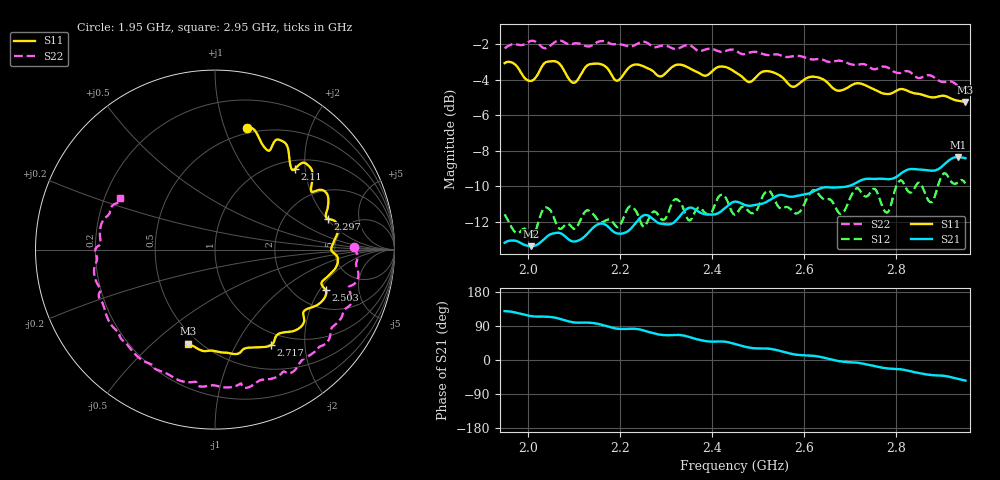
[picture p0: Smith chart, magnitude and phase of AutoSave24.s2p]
!Agilent N9923A: A.07.32
!Date: Wednesday, 01 June 2016 23:09:38
!Model: N9923A
!Serial: MY52412257
!GPS Latitude:
!GPS Longitude:
!GPS TimeStamp: 0001-01-01 00:00:00Z
!GPS Seconds Since Last Read: 0
!CHECKSUM:0575744058
!Correction: S11(ON U)S21(ON U)S12(ON U)S22(ON U)
!S2P File: Measurements:S11,S21,S12,S22:
# Hz S DB R 50
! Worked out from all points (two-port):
!   301 points, 1.95 GHz to 2.95 GHz, reference 50 ohm
!   highest |S21| = -8.35 dB at 2.933 GHz (marker M1); lowest = -13.4 dB at 2.007 GHz (marker M2)
!   |S21| within 3 dB of the highest: 2.342 GHz to 2.366 GHz (24.21 MHz wide, 1.03 % of centre); 2.423 GHz to end of sweep
!   lowest |S11| = -5.3 dB at 2.95 GHz (marker M3), VSWR 3.41, Z = 21.9 - j32.8 ohm
!   |S11| at or under -10 dB: nowhere
!   |S22| runs from -4.5 to -1.8 dB; largest |S21 - S12| = 0.21
!   S11 on the Smith chart (normalised r, x): 1.95 GHz: 0.44, +1.19; 2.11 GHz: 1.17, +1.77; 2.297 GHz: 3.45, +2.07; 2.503 GHz: 2.87, -2.28; 2.717 GHz: 0.81, -1.40; 2.95 GHz: 0.44, -0.66
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1.95e9  -3.06 75.4  -13.18 129.0  -11.58 118.6  -2.23 1.1
2.006667e9  -4.07 61.8  -13.37 116.0  -12.78 104.8  -1.82 -10.0
2.043333e9  -2.98 59.5  -12.81 114.0  -11.22 100.7  -2.18 -16.3
2.11e9  -3.95 45.2  -13.06 98.4  -12.16 86.8  -1.96 -29.5
2.12e9  -3.50 45.2  -12.91 98.5  -11.61 86.2  -2.04 -31.7
2.236667e9  -3.14 26.0  -11.99 81.9  -11.46 58.9  -2.00 -54.3
2.286667e9  -3.82 16.6  -12.09 67.0  -11.75 49.1  -2.10 -62.2
2.296667e9  -3.70 15.3  -12.13 65.6  -11.87 49.0  -2.07 -64.6
2.42e9  -3.25 -5.2  -11.41 48.9  -10.48 26.1  -2.43 -90.7
2.453333e9  -3.62 -11.6  -10.87 41.0  -11.55 18.3  -2.39 -97.5
2.503333e9  -3.65 -20.2  -11.01 30.6  -10.99 11.2  -2.49 -107.3
2.523333e9  -3.52 -23.8  -10.81 29.8  -10.25 4.7  -2.61 -112.4
2.583333e9  -4.33 -36.0  -10.55 14.0  -11.54 -9.1  -2.65 -123.5
2.62e9  -3.83 -41.5  -10.30 11.1  -10.21 -14.7  -2.86 -133.7
2.68e9  -4.61 -54.3  -10.05 -3.8  -11.56 -28.8  -2.94 -145.9
2.716667e9  -4.19 -59.8  -9.75 -7.3  -10.11 -36.1  -3.17 -155.3
2.783333e9  -4.80 -73.4  -9.60 -22.5  -11.41 -48.3  -3.34 -171.2
2.81e9  -4.52 -77.8  -9.29 -24.6  -9.66 -55.1  -3.61 -176.5
2.873333e9  -4.98 -90.8  -9.12 -39.4  -10.90 -69.8  -3.75 167.6
2.903333e9  -4.90 -96.7  -8.79 -41.8  -9.27 -74.4  -4.13 160.8
2.933333e9  -5.18 -103.1  -8.35 -49.6  -9.78 -80.0  -4.34 154.9
2.95e9  -5.25 -106.1  -8.42 -54.3  -9.84 -85.7  -4.42 151.2
